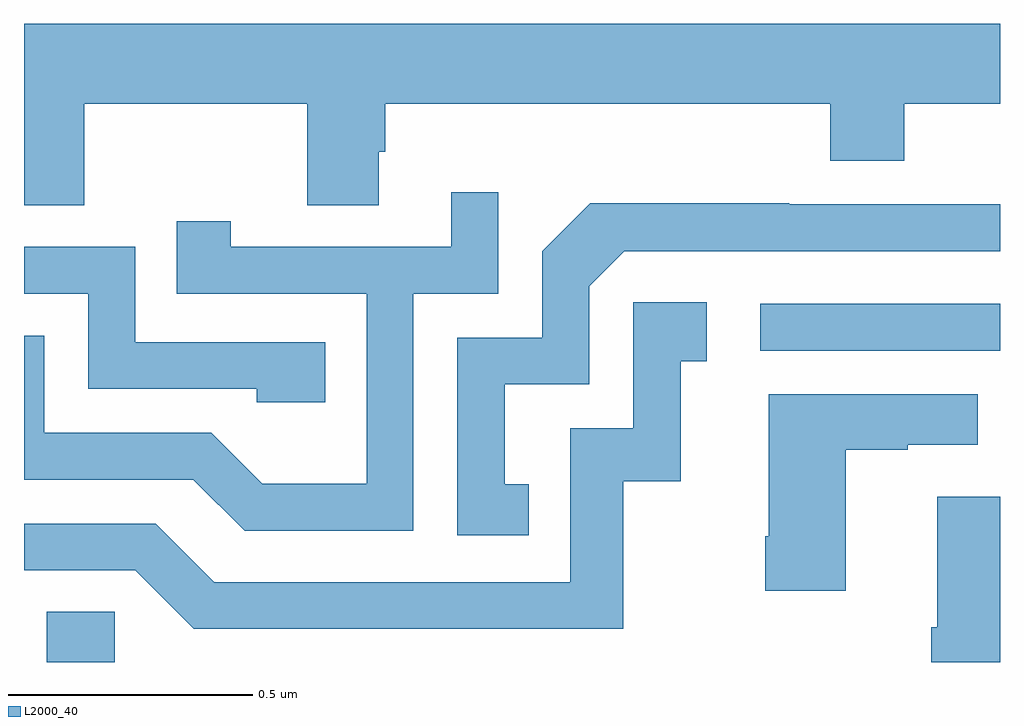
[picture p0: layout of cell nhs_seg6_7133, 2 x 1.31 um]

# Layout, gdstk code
import gdstk
lib = gdstk.Library(unit=1e-6, precision=1e-09)
def R(c, l, rs):  # rectangles x0, y0, x1, y1
    for r in rs: c.add(gdstk.rectangle(r[:2], r[2:], *l))
def P(c, l, *ps):  # polygons
    for p in ps: c.add(gdstk.Polygon(p, *l))
L2000_40 = (2000, 40)

nhs_seg6_7133 = lib.new_cell('nhs_seg6_7133')
R(nhs_seg6_7133, L2000_40, [(204.047,971.5,204.186,971.603), (205.509,972.138,206,972.234)])
P(nhs_seg6_7133, L2000_40, [(204.123,972.644),(204.58,972.644),(204.58,972.436),(204.727,972.436),(204.727,972.546),(204.74,972.546),(204.74,972.644),(205.652,972.644),(205.652,972.527),(205.804,972.527),(205.804,972.644),(206,972.644),(206,972.808),(204,972.808),(204,972.436),(204.123,972.436)],
  [(204.798,972.255),(204.972,972.255),(204.972,972.463),(204.875,972.463),(204.875,972.351),(204.424,972.351),(204.424,972.403),(204.313,972.403),(204.313,972.255),(204.702,972.255),(204.702,971.866),(204.488,971.866),(204.384,971.97),(204.042,971.97),(204.042,972.169),(204,972.169),(204,971.874),(204.347,971.874),(204.452,971.769),(204.798,971.769)],
  [(205.034,971.865),(204.985,971.865),(204.985,972.069),(205.158,972.069),(205.158,972.27),(205.23,972.342),(206,972.342),(206,972.438),(205.568,972.438),(205.568,972.44),(205.16,972.44),(205.062,972.342),(205.062,972.165),(204.888,972.165),(204.888,971.76),(205.034,971.76)],
  [(204.617,972.156),(204.228,972.156),(204.228,972.351),(204,972.351),(204,972.255),(204.132,972.255),(204.132,972.06),(204.477,972.06),(204.477,972.033),(204.617,972.033)],
  [(205.228,971.871),(205.346,971.871),(205.346,972.117),(205.399,972.117),(205.399,972.238),(205.248,972.238),(205.248,971.979),(205.119,971.979),(205.119,971.664),(204.39,971.664),(204.27,971.784),(204,971.784),(204,971.688),(204.228,971.688),(204.348,971.568),(205.228,971.568)],
  [(205.684,971.935),(205.811,971.935),(205.811,971.945),(205.954,971.945),(205.954,972.049),(205.526,972.049),(205.526,971.758),(205.519,971.758),(205.519,971.646),(205.684,971.646)],
  [(206,971.839),(205.871,971.839),(205.871,971.572),(205.859,971.572),(205.859,971.5),(206,971.5)])

lib.write_gds('nhs_seg6_7133.gds')
